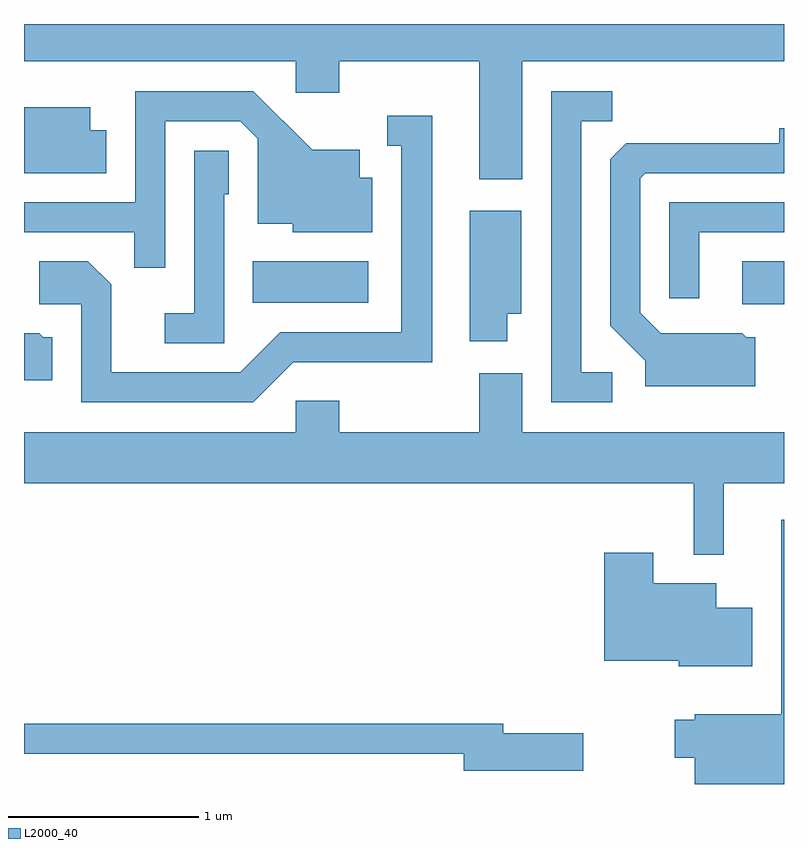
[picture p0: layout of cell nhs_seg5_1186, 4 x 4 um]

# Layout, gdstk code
import gdstk
lib = gdstk.Library(unit=1e-6, precision=1e-09)
def R(c, l, rs):  # rectangles x0, y0, x1, y1
    for r in rs: c.add(gdstk.rectangle(r[:2], r[2:], *l))
def P(c, l, *ps):  # polygons
    for p in ps: c.add(gdstk.Polygon(p, *l))
L2000_40 = (2000, 40)

nhs_seg5_1186 = lib.new_cell('nhs_seg5_1186')
R(nhs_seg5_1186, L2000_40, [(223.391,1486.596,223.611,1486.824), (220.816,1486.606,221.424,1486.824)])
P(nhs_seg5_1186, L2000_40, [(222.234,1487.876),(223.611,1487.876),(223.611,1488.072),(219.611,1488.072),(219.611,1487.876),(221.041,1487.876),(221.041,1487.711),(221.269,1487.711),(221.269,1487.876),(222.006,1487.876),(222.006,1487.256),(222.234,1487.256)],
  [(220.354,1487.561),(220.749,1487.561),(220.841,1487.469),(220.841,1487.021),(221.026,1487.021),(221.026,1486.976),(221.444,1486.976),(221.444,1487.264),(221.379,1487.264),(221.379,1487.409),(221.127,1487.409),(220.817,1487.719),(220.196,1487.719),(220.196,1487.134),(219.611,1487.134),(219.611,1486.976),(220.191,1486.976),(220.191,1486.788),(220.354,1486.788)],
  [(222.708,1486.239),(222.544,1486.239),(222.544,1487.561),(222.708,1487.561),(222.708,1487.719),(222.386,1487.719),(222.386,1486.081),(222.708,1486.081)],
  [(220.044,1487.514),(219.959,1487.514),(219.959,1487.634),(219.611,1487.634),(219.611,1487.286),(220.044,1487.286)],
  [(221.027,1486.291),(221.759,1486.291),(221.759,1487.589),(221.523,1487.589),(221.523,1487.431),(221.596,1487.431),(221.596,1486.449),(220.959,1486.449),(220.749,1486.239),(220.069,1486.239),(220.069,1486.702),(219.947,1486.824),(219.691,1486.824),(219.691,1486.596),(219.911,1486.596),(219.911,1486.081),(220.817,1486.081)],
  [(223.459,1486.424),(223.412,1486.424),(223.392,1486.444),(222.962,1486.444),(222.854,1486.552),(222.854,1487.259),(222.882,1487.286),(223.611,1487.286),(223.611,1487.523),(223.586,1487.523),(223.586,1487.444),(222.782,1487.444),(222.696,1487.359),(222.696,1486.484),(222.881,1486.299),(222.881,1486.166),(223.459,1486.166)],
  [(220.664,1487.176),(220.689,1487.176),(220.689,1487.404),(220.506,1487.404),(220.506,1486.549),(220.353,1486.549),(220.353,1486.391),(220.664,1486.391)],
  [(223.164,1486.976),(223.611,1486.976),(223.611,1487.134),(223.006,1487.134),(223.006,1486.628),(223.164,1486.628)],
  [(222.154,1486.546),(222.229,1486.546),(222.229,1487.089),(221.956,1487.089),(221.956,1486.401),(222.154,1486.401)],
  [(219.759,1486.424),(219.712,1486.424),(219.692,1486.444),(219.611,1486.444),(219.611,1486.196),(219.759,1486.196)],
  [(223.294,1485.656),(223.611,1485.656),(223.611,1485.924),(222.234,1485.924),(222.234,1486.234),(222.006,1486.234),(222.006,1485.924),(221.269,1485.924),(221.269,1486.089),(221.041,1486.089),(221.041,1485.924),(219.611,1485.924),(219.611,1485.656),(223.136,1485.656),(223.136,1485.278),(223.294,1485.278)],
  [(223.611,1485.463),(223.596,1485.463),(223.596,1484.439),(223.141,1484.439),(223.141,1484.409),(223.036,1484.409),(223.036,1484.211),(223.141,1484.211),(223.141,1484.072),(223.611,1484.072)],
  [(223.444,1484.999),(223.254,1484.999),(223.254,1485.129),(222.924,1485.129),(222.924,1485.289),(222.666,1485.289),(222.666,1484.721),(223.056,1484.721),(223.056,1484.691),(223.444,1484.691)],
  [(222.554,1484.339),(222.134,1484.339),(222.134,1484.389),(219.611,1484.389),(219.611,1484.231),(221.926,1484.231),(221.926,1484.141),(222.554,1484.141)])

lib.write_gds('nhs_seg5_1186.gds')
